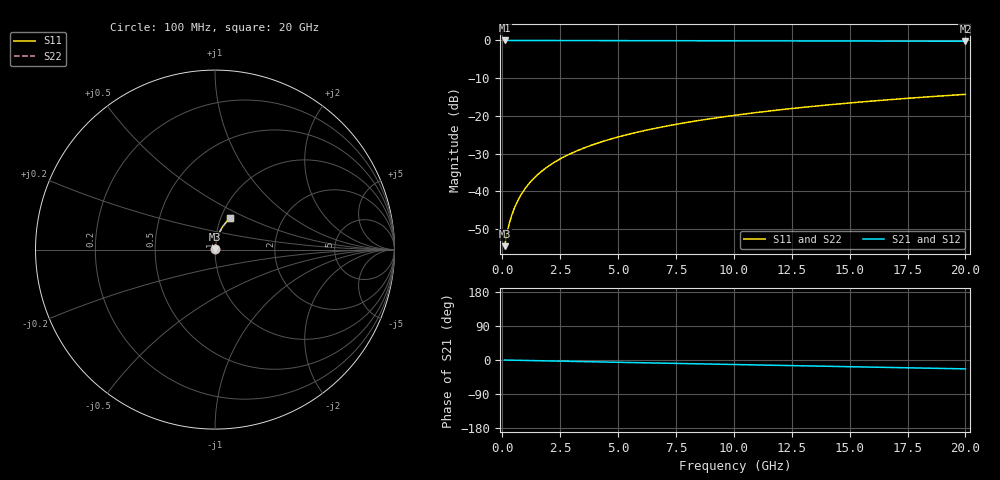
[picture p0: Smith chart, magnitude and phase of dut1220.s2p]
! Touchstone file exported from HFSS 2026.1.0
!  File:  C:/ffzhzh/LocalFiles/Ansys_Project_Files/temp_train_TMRDL_1220_1783163287_43440.aedt
!  Generated:  07:09:24 PM Jul  4, 2026
!  Design:  TMRDL
!  Project:  temp_train_TMRDL_1220_1783163287_43440
! Variables:
!  h_bsmrdl = 2um
!  h_ox = 20um
!  h_rdl = 5um
!  h_sub = 80um
!  h_tmrdl = 5.11um
!  h_tsv = 80um
!  h_via = 3um
!  l_bsmrdl = 300um
!  l_sub = 749.13um
!  l_tmrdl = 349.13um
!  m_sub = 200um
!  pitch = 36.62um
!  r_tsv = 6um
!  s_tmrdl = 10um
!  w_bsmrdl = 18um
!  w_sub = 500um
!  w_tmrdl = 18.52um
!  x_tsv_center1 = 358.39um
!  x_tsv_center2 = 676.39um
!  x_tsv_center3 = 1044.04um
!  x_tsv_center4 = 1362.04um
!  x_tsv_center5 = 1729.69um
!  x_tsv_center6 = 2047.69um
# GHz S MA R 50.000000
! Terminal data exported
! Port[1] = TM_RDL1_1_T1
! Port[2] = TM_RDL1_1_T2
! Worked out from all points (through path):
!   200 points, 100 MHz to 20 GHz, reference 50 ohm
!   highest |S21| = -0.01 dB at 100 MHz (marker M1); lowest = -0.2 dB at 20 GHz (marker M2)
!   group delay of S21, straight-line fit = 3.25 ps
!   lowest |S11| = -54.5 dB at 100 MHz (marker M3), VSWR 1.00, Z = 50.1 + j0.12 ohm
!   |S11| at or under -10 dB: start of sweep to end of sweep
!   |S22| runs from -54.5 to -14.3 dB; largest |S21 - S12| = 8.5e-15
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0.1  0.001885 39.5  0.9985 -0.1  0.9985 -0.1  0.001885 39.5
! Gamma 0 0 0 0
! Port Impedance 50 0 50 0
0.2  0.002784 56.1  0.9985 -0.3  0.9985 -0.3  0.002784 56.1
0.3  0.003753 64.3  0.9984 -0.4  0.9984 -0.4  0.003753 64.3
0.4  0.004756 69.3  0.9983 -0.5  0.9983 -0.5  0.004756 69.3
0.5  0.005781 72.6  0.9983 -0.6  0.9983 -0.6  0.005782 72.6
0.6  0.006822 74.8  0.9982 -0.7  0.9982 -0.7  0.006822 74.8
0.8  0.008931 77.7  0.9981 -1.0  0.9981 -1.0  0.008931 77.7
1.1  0.01212 79.9  0.998 -1.4  0.998 -1.4  0.01212 79.9
1.5  0.01639 81.2  0.9978 -1.8  0.9978 -1.8  0.01639 81.2
1.8  0.01958 81.6  0.9977 -2.2  0.9977 -2.2  0.01958 81.6
2.1  0.02275 81.8  0.9975 -2.6  0.9975 -2.6  0.02275 81.8
2.7  0.02905 81.7  0.997 -3.3  0.997 -3.3  0.02905 81.7
3.5  0.03734 81.2  0.9964 -4.3  0.9964 -4.3  0.03734 81.2
4.2  0.0445 80.7  0.9957 -5.1  0.9957 -5.1  0.0445 80.7
5  0.05259 79.9  0.995 -6.1  0.995 -6.1  0.05258 79.9
5.9  0.06159 79.1  0.994 -7.1  0.994 -7.1  0.06159 79.1
6.8  0.0705 78.2  0.9931 -8.2  0.9931 -8.2  0.0705 78.2
8.3  0.08519 76.7  0.9914 -9.9  0.9914 -9.9  0.08519 76.7
10.1  0.1026 74.9  0.9892 -12.1  0.9892 -12.1  0.1026 74.9
13.4  0.1338 71.4  0.9847 -15.9  0.9847 -15.9  0.1338 71.4
16.7  0.164 67.9  0.9794 -19.7  0.9794 -19.7  0.164 67.9
20  0.193 64.3  0.9736 -23.4  0.9736 -23.4  0.193 64.3
